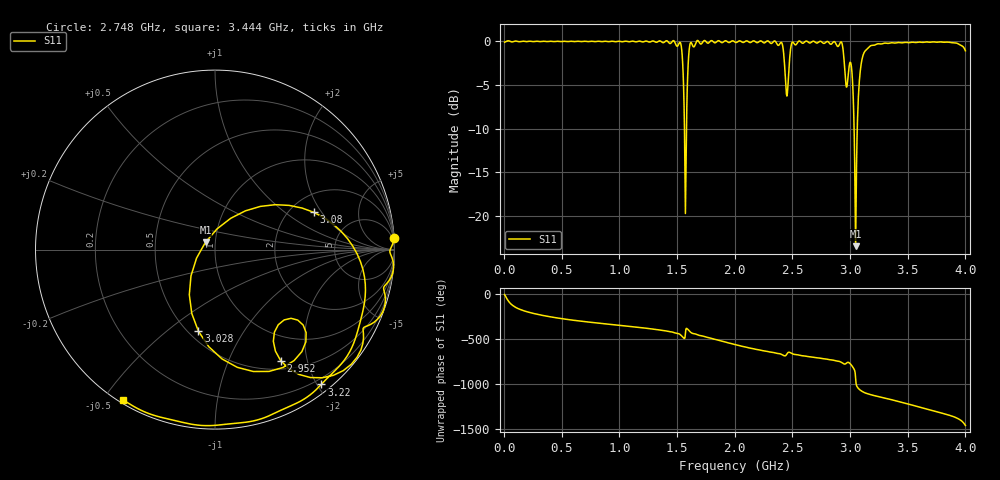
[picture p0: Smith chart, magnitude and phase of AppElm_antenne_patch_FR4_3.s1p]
! TOUCHSTONE file generated by CST MICROWAVE STUDIO
! Date and time: Tue Jun  7 21:11:31 2022
! Project name: AppElm_antenne_patch_FR4.cst
! Parameters = {L=45; W=58.5; e=0.035; h=1.6; lambda=0.190476; ls=120; w0=1.6; w1=0.533333; ws=102; y0=20; y1=23.81}
! Header version: 2018
! Port assignment regex: !\s*Touchstone port\s*([0-9]+)\s*=\s*(CST MWS port|CST DS port)\s*([0-9]+|Zmin|Zmax)\s*\(\"(.*)\"\)(\s*mode\s*([0-9]+))?.*
! Touchstone port assignment:
! Touchstone port 1 = CST MWS port 1 ("")
# GHz S MA R 50
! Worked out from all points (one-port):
!   1000 points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, 4 MHz to 4 GHz, reference 50 ohm
!   lowest |S11| = -23.5 dB at 3.048 GHz (marker M1), VSWR 1.14, Z = 44.8 + j3.72 ohm
!   |S11| at or under -10 dB: 1.564 GHz to 1.581 GHz (17.25 MHz wide, 1.1 % of centre); 3.035 GHz to 3.062 GHz (27.66 MHz wide, 0.907 % of centre)
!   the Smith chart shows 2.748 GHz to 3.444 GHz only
!   S11 on the Smith chart (normalised r, x): 2.748 GHz: 0, +32; 2.952 GHz: 0.62, -1.58; 3.028 GHz: 0.56, -0.65; 3.08 GHz: 2.67, +1.70; 3.22 GHz: 0.12, -2.06; 3.444 GHz: 0.01, -0.56
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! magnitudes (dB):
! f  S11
! 4 MHz  -0.1
! 504 MHz  0.0
! 1.004 GHz  0.0
! 1.504 GHz  -0.5
! 1.536 GHz  -0.5
! 1.56 GHz  -7.2
! 1.572 GHz  -19.7
! 1.588 GHz  -5.4
! 1.604 GHz  -1.0
! 1.624 GHz  -0.2
! 2.004 GHz  -0.1
! 2.396 GHz  -0.2
! 2.452 GHz  -6.3
! 2.504 GHz  -0.1
! 2.748 GHz  0.0
! 2.92 GHz  -0.1
! 2.952 GHz  -2.9
! 3.004 GHz  -2.4
! 3.016 GHz  -3.5
! 3.028 GHz  -6.7
! 3.048 GHz  -23.5
! 3.064 GHz  -9.1
! 3.08 GHz  -4.6
! 3.12 GHz  -1.3
! 3.22 GHz  -0.4
! 3.444 GHz  -0.2
! 3.504 GHz  -0.1
! 4 GHz  -1.1
